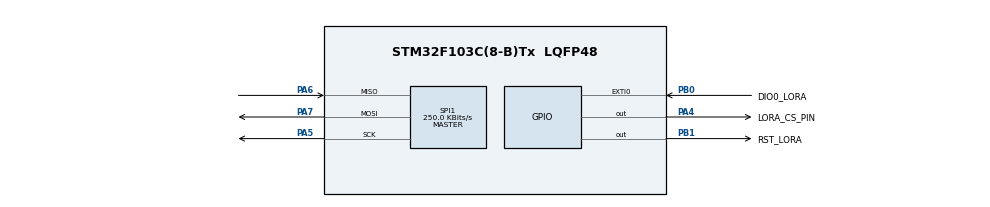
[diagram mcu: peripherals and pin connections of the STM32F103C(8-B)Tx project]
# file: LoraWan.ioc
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Mcu.Family=STM32F1
Mcu.Name=STM32F103C(8-B)Tx
Mcu.Package=LQFP48
NVIC.PriorityGroup=NVIC_PRIORITYGROUP_4
NVIC.SPI1_IRQn=true\:0\:0\:false\:false\:true\:true\:true\:true
PA13.Mode=Serial_Wire
PA13.Signal=SYS_JTMS-SWDIO
PA14.Mode=Serial_Wire
PA14.Signal=SYS_JTCK-SWCLK
PA4.GPIO_Label=LORA_CS_PIN
PA4.Signal=GPIO_Output
PA5.Mode=Full_Duplex_Master
PA5.Signal=SPI1_SCK
PA6.Mode=Full_Duplex_Master
PA6.Signal=SPI1_MISO
PA7.Mode=Full_Duplex_Master
PA7.Signal=SPI1_MOSI
PB0.GPIO_Label=DIO0_LORA
PB0.Signal=GPXTI0
PB1.GPIO_Label=RST_LORA
PB1.GPIO_PuPd=GPIO_NOPULL
PB1.Signal=GPIO_Output
ProjectManager.HeapSize=0x200
ProjectManager.StackSize=0x400
ProjectManager.TargetToolchain=STM32CubeIDE
RCC.APB1Freq_Value=8000000
RCC.APB2Freq_Value=8000000
SPI1.BaudRatePrescaler=SPI_BAUDRATEPRESCALER_32
SPI1.CLKPhase=SPI_PHASE_1EDGE
SPI1.CalculateBaudRate=250.0 KBits/s
SPI1.Direction=SPI_DIRECTION_2LINES
SPI1.Mode=SPI_MODE_MASTER
SPI1.VirtualType=VM_MASTER
board=custom

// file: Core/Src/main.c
/* USER CODE BEGIN Header */
/**
  ******************************************************************************
  * @file           : main.c
  * @brief          : Main program body
  ******************************************************************************
  * @attention
  *
  * Copyright (c) 2026 STMicroelectronics.
  * All rights reserved.
  *
  * This software is licensed under terms that can be found in the LICENSE file
  * in the root directory of this software component.
  * If no LICENSE file comes with this software, it is provided AS-IS.
  *
  ******************************************************************************
  */
/* USER CODE END Header */
#include "main.h"
#include "spi.h"
#include "gpio.h"

/* USER CODE BEGIN Includes */
#include "lora.h"
/* USER CODE END Includes */

void SystemClock_Config(void);

/* USER CODE BEGIN 0 */
#define VERSION_REG 0x42
volatile uint8_t data_enable = 0 ;
/* USER CODE END 0 */

int main(void)
{

  /* USER CODE BEGIN 1 */
	uint8_t version = 0 ;

#define RECEIVE
#ifdef TRANSMIT
	char* datasent = "Mai Khang DZ\0";
#endif
#if defined(RECEIVE)
	uint8_t rxBuf[255] = {0};
#endif
  /* USER CODE END 1 */

  /* MCU Configuration--------------------------------------------------------*/

  /* Reset of all peripherals, Initializes the Flash interface and the Systick. */
  HAL_Init();

  /* Configure the system clock */
  SystemClock_Config();

  /* Initialize all configured peripherals */
  MX_GPIO_Init();
  MX_SPI1_Init();
  /* USER CODE BEGIN 2 */

  /*
   * Reset lora
   */
  DRV_Lora_Reset();

  /*
   * Set lora mode
   */
  DRV_Lora_Init();
  /*
   * Read reg version to ensure connection not failure
   */
  version = DRV_Lora_GetVersionInfor();
  (void)version ;
//  NVIC_EnableIRQ(EXTI0_IRQn);
  /* USER CODE END 2 */

  /* Infinite loop */
  while (1)
  {

    /* USER CODE BEGIN 3 */
#ifdef TRANSMIT
	  DRV_Lora_Transmit((uint8_t*)datasent, 20);
	  HAL_Delay(100);
#endif
#if defined(RECEIVE)
	  if (DRV_Lora_Receive(rxBuf, sizeof(rxBuf)) == 1)
	  {

		  data_enable = 0 ;
	  }
#endif
  }
  /* USER CODE END 3 */
}
void EXTI0_IRQHandler()
{
	data_enable = 1 ;
}
void SystemClock_Config(void)
{
  RCC_OscInitTypeDef RCC_OscInitStruct = {0};
  RCC_ClkInitTypeDef RCC_ClkInitStruct = {0};

  /** Initializes the RCC Oscillators according to the specified parameters
  * in the RCC_OscInitTypeDef structure.
  */
  RCC_OscInitStruct.OscillatorType = RCC_OSCILLATORTYPE_HSI;
  RCC_OscInitStruct.HSIState = RCC_HSI_ON;
  RCC_OscInitStruct.HSICalibrationValue = RCC_HSICALIBRATION_DEFAULT;
  RCC_OscInitStruct.PLL.PLLState = RCC_PLL_NONE;
  if (HAL_RCC_OscConfig(&RCC_OscInitStruct) != HAL_OK)
  {
    Error_Handler();
  }

  /** Initializes the CPU, AHB and APB buses clocks
  */
  RCC_ClkInitStruct.ClockType = RCC_CLOCKTYPE_HCLK|RCC_CLOCKTYPE_SYSCLK
                              |RCC_CLOCKTYPE_PCLK1|RCC_CLOCKTYPE_PCLK2;
  RCC_ClkInitStruct.SYSCLKSource = RCC_SYSCLKSOURCE_HSI;
  RCC_ClkInitStruct.AHBCLKDivider = RCC_SYSCLK_DIV1;
  RCC_ClkInitStruct.APB1CLKDivider = RCC_HCLK_DIV1;
  RCC_ClkInitStruct.APB2CLKDivider = RCC_HCLK_DIV1;

  if (HAL_RCC_ClockConfig(&RCC_ClkInitStruct, FLASH_LATENCY_0) != HAL_OK)
  {
    Error_Handler();
  }
}

void Error_Handler(void)
{
  __disable_irq();
  while (1)
  {
  }
}
